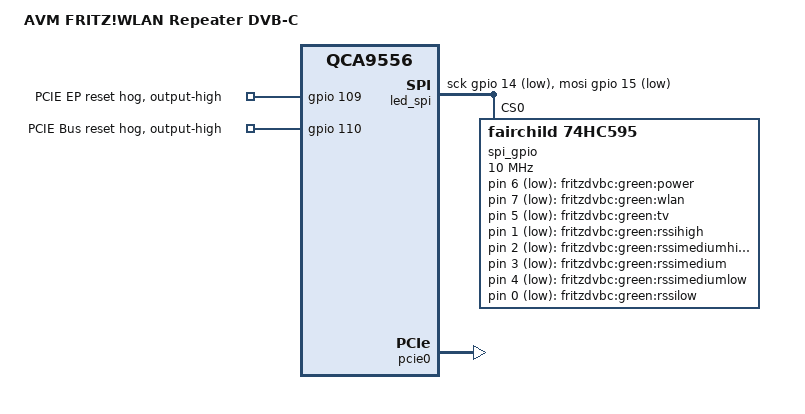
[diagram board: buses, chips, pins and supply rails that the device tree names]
// SPDX-License-Identifier: GPL-2.0-or-later OR MIT

#include "qca9556_avm_fritz-repeater.dtsi"

/ {
	compatible = "avm,fritzdvbc", "qca,qca9556";
	model = "AVM FRITZ!WLAN Repeater DVB-C";

	aliases {
		led-boot = &led_power;
		led-failsafe = &led_power;
		led-running = &led_power;
		led-upgrade = &led_power;
	};

	led_spi {
		compatible = "spi-gpio";
		#address-cells = <1>;
		#size-cells = <0>;

		sck-gpios = <&gpio 14 GPIO_ACTIVE_LOW>;
		mosi-gpios = <&gpio 15 GPIO_ACTIVE_LOW>;
		num-chipselects = <0>;

		spi_gpio: led_gpio@0 {
			compatible = "fairchild,74hc595";
			reg = <0>;
			gpio-controller;
			#gpio-cells = <2>;
			registers-number = <2>;
			spi-max-frequency = <10000000>;

			gpio_latch_bit {
				gpio-hog;
				gpios = <16 GPIO_ACTIVE_HIGH>;
				output-high;
				line-name = "gpio-latch-bit";
			};
		};
	};

	// The GPIO pins 100 or greater are redirected to the shift register
	// So OEM source pin 100 becomes 0, 101 becomes 1, ...
	leds {
		compatible = "gpio-leds";

		led_power: power {
			// OEM source pin 106
			label = "fritzdvbc:green:power";
			gpios = <&spi_gpio 6 GPIO_ACTIVE_LOW>;
		};

		wlan {
			// OEM source pin 107
			label = "fritzdvbc:green:wlan";
			gpios = <&spi_gpio 7 GPIO_ACTIVE_LOW>;
			linux,default-trigger = "phy1tpt";
		};

		tv {
			// OEM source pin 105
			label = "fritzdvbc:green:tv";
			gpios = <&spi_gpio 5 GPIO_ACTIVE_LOW>;
		};

		rssihigh {
			// OEM source pin 100 or 101
			// Testing showed pin 1 ("101")
			label = "fritzdvbc:green:rssihigh";
			gpios = <&spi_gpio 1 GPIO_ACTIVE_LOW>;
		};

		rssimediumhigh {
			// OEM source pin 102 or 104
			// Testing showed pin 2 ("102")
			label = "fritzdvbc:green:rssimediumhigh";
			gpios = <&spi_gpio 2 GPIO_ACTIVE_LOW>;
		};

		rssimedium {
			// OEM source pin 103
			label = "fritzdvbc:green:rssimedium";
			gpios = <&spi_gpio 3 GPIO_ACTIVE_LOW>;
		};

		rssimediumlow {
			// OEM source pin 102 or 104
			// Testing showed pin 4 ("104")
			label = "fritzdvbc:green:rssimediumlow";
			gpios = <&spi_gpio 4 GPIO_ACTIVE_LOW>;
		};

		rssilow {
			// OEM source pin 100 or 101
			// Testing showed pin 0 ("100")
			label = "fritzdvbc:green:rssilow";
			gpios = <&spi_gpio 0 GPIO_ACTIVE_LOW>;
		};
	};
};

&pcie0 {
	status = "okay";
};

&gpio {
	reset-pcie-ep {
		gpio-hog;
		gpios = <109 GPIO_ACTIVE_HIGH>;
		output-high;
		line-name = "PCIE EP reset";
	};

	reset-pcie {
		gpio-hog;
		gpios = <110 GPIO_ACTIVE_HIGH>;
		output-high;
		line-name = "PCIE Bus reset";
	};
};
